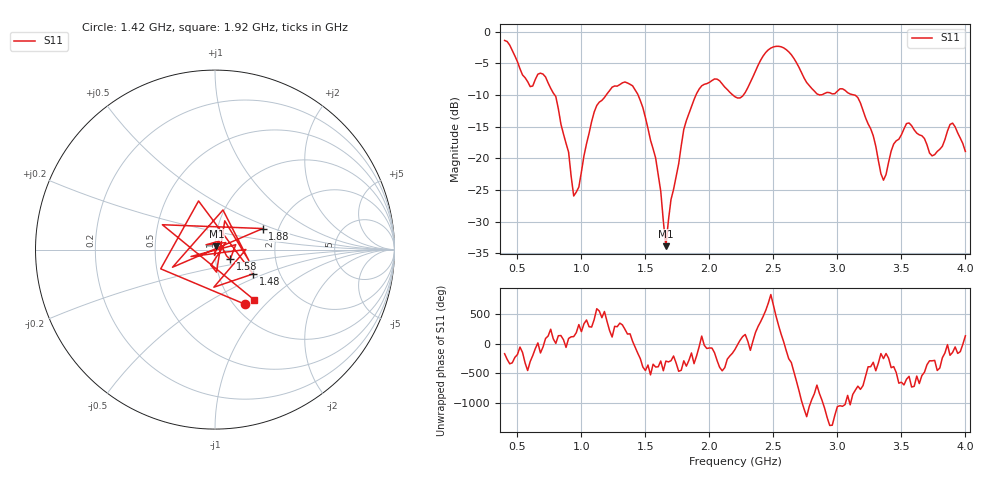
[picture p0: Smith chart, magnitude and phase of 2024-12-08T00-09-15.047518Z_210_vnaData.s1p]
!Created with skrf (http://scikit-rf.org).
# Hz S RI R 50.0
!freq ReS11 ImS11
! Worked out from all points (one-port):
!   181 points, 400 MHz to 4 GHz, reference 50 ohm
!   lowest |S11| = -33.9 dB at 1.66 GHz (marker M1), VSWR 1.04, Z = 50.8 + j1.89 ohm
!   |S11| at or under -10 dB: 791.1 MHz to 1.194 GHz (403 MHz wide, 40.6 % of centre); 1.443 GHz to 1.895 GHz (452.9 MHz wide, 27.1 % of centre); 3.129 GHz to end of sweep (the widest 3 of 5)
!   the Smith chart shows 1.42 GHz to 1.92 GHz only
!   S11 on the Smith chart (normalised r, x): 1.42 GHz: 1.12, -0.77; 1.48 GHz: 1.46, -0.42; 1.58 GHz: 1.18, -0.13; 1.88 GHz: 1.66, +0.42; 1.92 GHz: 1.27, -0.80
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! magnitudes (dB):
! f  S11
! 400 MHz  -1.4
! 600 MHz  -8.7
! 720 MHz  -7.2
! 860 MHz  -16.2
! 940 MHz  -26.0
! 1.12 GHz  -11.7
! 1.3 GHz  -8.4
! 1.42 GHz  -9.2
! 1.48 GHz  -12.0
! 1.58 GHz  -20.0
! 1.66 GHz  -33.9
! 1.7 GHz  -26.5
! 1.76 GHz  -20.9
! 1.88 GHz  -10.7
! 1.92 GHz  -9.1
! 2.06 GHz  -7.5
! 2.2 GHz  -10.3
! 2.48 GHz  -2.6
! 2.66 GHz  -4.2
! 2.84 GHz  -9.8
! 3.1 GHz  -9.9
! 3.26 GHz  -15.3
! 3.36 GHz  -23.5
! 3.44 GHz  -17.7
! 3.56 GHz  -14.4
! 3.74 GHz  -19.6
! 3.9 GHz  -14.5
! 4 GHz  -18.9
